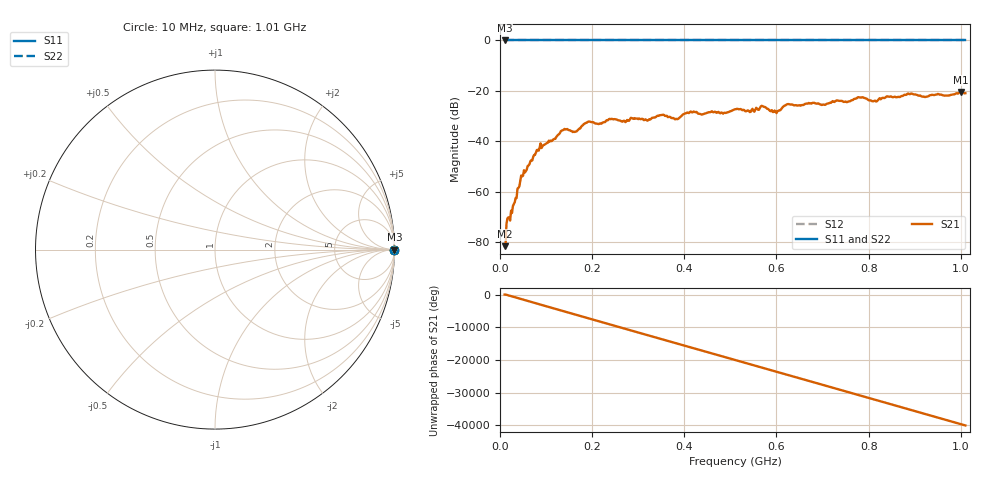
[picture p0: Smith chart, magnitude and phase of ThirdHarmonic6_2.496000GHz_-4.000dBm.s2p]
! 8/17/2025 4:45:13 AM
! C:\ANRITSUVNA\TEMP\TEMP.S2P
! CHANNEL.1
! TR.MEASUREMENT
! RAW.DATA
! RF.CORRECTION.OFF
! AVERAGING.OFF
! IF.BANDWIDTH: 5KHZ
! SWEEPTYPE:  FREQ.SWEEP(Linear)
! Reference Plane Port Info
! PORT:  PORT1  PORT2
! DISTANCE:  0  m  0  m
! TIME:  0  s  0  s
! PHASE.OFFSET:  0  deg.  0  deg.
! LOSS:  0  dB  0  dB
! REF.LOSS:  0  dB  0  dB
! REF.FREQ:  0  Hz  0  Hz
! Power Info
! POWER:  -20  dBm  -20  dBm
! EFF.POWER:  -20  dBm  -20  dBm
! SOURCE.ATTEN:  0  dB  0  dB
! TEST.ATTEN:  0  dB  0  dB
# GHZ S RI R 50.0
! FREQ.GHZ  S11RE  S11IM  S21RE  S21IM  S12RE  S12IM  S22RE  S22IM
!; PortSelection: Port_12
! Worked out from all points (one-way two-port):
!   501 points, 10 MHz to 1.01 GHz, reference 50 ohm
!   highest |S21| = -20.37 dB at 1 GHz (marker M1); lowest = -81.5 dB at 10 MHz (marker M2)
!   lowest |S11| = 0.0 dB at 10 MHz (marker M3)
!   |S11| at or under -10 dB: nowhere
!   |S22| runs from 0.0 to 0.0 dB; largest |S21 - S12| = 1.1
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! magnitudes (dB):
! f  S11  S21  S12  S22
! 10 MHz  0.0  -81.5  0.0  0.0
! 18 MHz  0.0  -70.0  0.0  0.0
! 48 MHz  0.0  -53.8  0.0  0.0
! 84 MHz  0.0  -43.6  0.0  0.0
! 136 MHz  0.0  -35.6  0.0  0.0
! 162 MHz  0.0  -36.2  0.0  0.0
! 178 MHz  0.0  -33.8  0.0  0.0
! 194 MHz  0.0  -32.1  0.0  0.0
! 344 MHz  0.0  -29.9  0.0  0.0
! 384 MHz  0.0  -31.1  0.0  0.0
! 410 MHz  0.0  -28.8  0.0  0.0
! 510 MHz  0.0  -27.2  0.0  0.0
! 540 MHz  0.0  -27.9  0.0  0.0
! 570 MHz  0.0  -26.1  0.0  0.0
! 596 MHz  0.0  -27.8  0.0  0.0
! 624 MHz  0.0  -25.2  0.0  0.0
! 678 MHz  0.0  -24.7  0.0  0.0
! 782 MHz  0.0  -22.6  0.0  0.0
! 814 MHz  0.0  -23.8  0.0  0.0
! 844 MHz  0.0  -22.3  0.0  0.0
! 1 GHz  0.0  -20.4  0.0  0.0
! 1.01 GHz  0.0  -20.9  0.0  0.0
